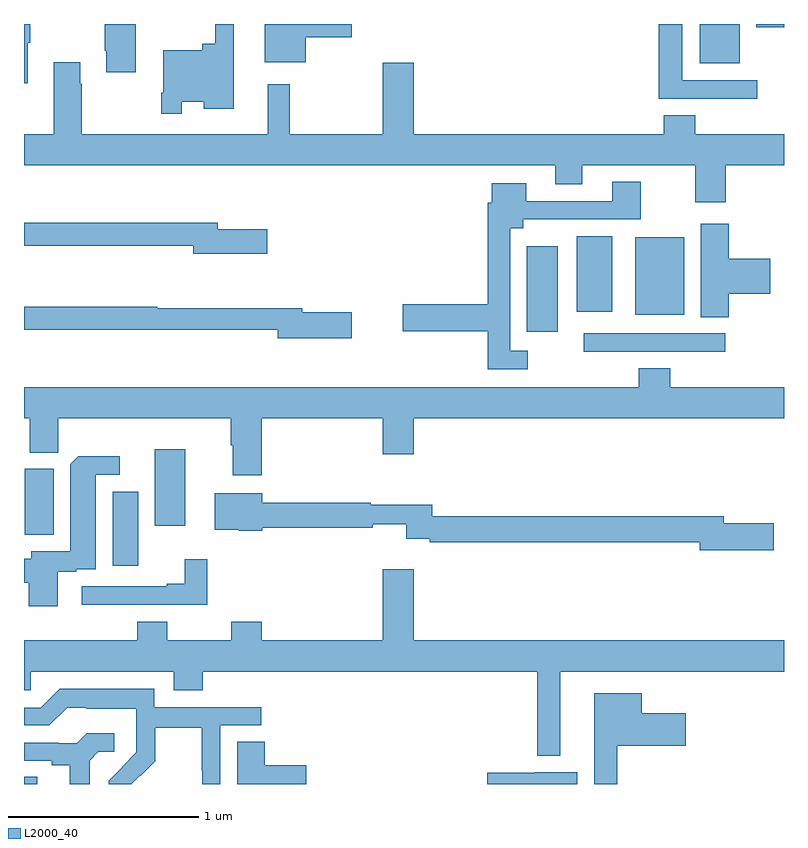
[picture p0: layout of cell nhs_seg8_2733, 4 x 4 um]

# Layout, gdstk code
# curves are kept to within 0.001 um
import gdstk
lib = gdstk.Library(unit=1e-6, precision=1e-09)
def R(c, l, rs):  # rectangles x0, y0, x1, y1
    for r in rs: c.add(gdstk.rectangle(r[:2], r[2:], *l))
def P(c, l, *ps):  # polygons
    for p in ps: c.add(gdstk.Polygon(p, *l))
L2000_40 = (2000, 40)

nhs_seg8_2733 = lib.new_cell('nhs_seg8_2733')
R(nhs_seg8_2733, L2000_40, [(283,1123.9,283.069,1123.937), (283.466,1125.05,283.6,1125.439), (283.004,1125.211,283.156,1125.558), (283.688,1125.258,283.849,1125.661), (285.945,1126.176,286.69,1126.272), (285.647,1126.281,285.808,1126.729), (286.217,1126.37,286.474,1126.777), (285.908,1126.385,286.096,1126.783), (286.556,1127.693,286.768,1127.9), (286.853,1127.882,287,1127.9)])
P(nhs_seg8_2733, L2000_40, [(284.482,1127.831),(284.725,1127.831),(284.725,1127.9),(284.267,1127.9),(284.267,1127.699),(284.482,1127.699)],
  [(283.021,1127.801),(283.033,1127.801),(283.033,1127.9),(283,1127.9),(283,1127.589),(283.021,1127.589)],
  [(286.858,1127.604),(286.465,1127.604),(286.465,1127.9),(286.34,1127.9),(286.34,1127.507),(286.858,1127.507)],
  [(283.83,1127.492),(283.946,1127.492),(283.946,1127.453),(284.104,1127.453),(284.104,1127.9),(284.007,1127.9),(284.007,1127.797),(283.939,1127.797),(283.939,1127.761),(283.734,1127.761),(283.734,1127.539),(283.722,1127.539),(283.722,1127.427),(283.83,1127.427)],
  [(283.588,1127.9),(283.426,1127.9),(283.426,1127.758),(283.433,1127.758),(283.433,1127.646),(283.588,1127.646)],
  [(286.694,1127.156),(287,1127.156),(287,1127.32),(286.532,1127.32),(286.532,1127.419),(286.367,1127.419),(286.367,1127.32),(285.052,1127.32),(285.052,1127.695),(284.888,1127.695),(284.888,1127.32),(284.399,1127.32),(284.399,1127.584),(284.282,1127.584),(284.282,1127.32),(283.305,1127.32),(283.305,1127.585),(283.297,1127.585),(283.297,1127.698),(283.157,1127.698),(283.157,1127.32),(283,1127.32),(283,1127.156),(285.797,1127.156),(285.797,1127.057),(285.937,1127.057),(285.937,1127.156),(286.534,1127.156),(286.534,1126.962),(286.694,1126.962)],
  [(285.652,1126.179),(285.558,1126.179),(285.558,1126.826),(285.628,1126.826),(285.628,1126.872),(286.245,1126.872),(286.245,1127.071),(286.097,1127.071),(286.097,1126.968),(285.643,1126.968),(285.643,1127.062),(285.461,1127.062),(285.461,1126.958),(285.442,1126.958),(285.442,1126.424),(284.994,1126.424),(284.994,1126.282),(285.442,1126.282),(285.442,1126.083),(285.652,1126.083)],
  [(284.281,1126.821),(284.02,1126.821),(284.02,1126.855),(283,1126.855),(283,1126.734),(283.892,1126.734),(283.892,1126.691),(284.281,1126.691)],
  [(286.709,1126.481),(286.927,1126.481),(286.927,1126.664),(286.709,1126.664),(286.709,1126.849),(286.562,1126.849),(286.562,1126.357),(286.709,1126.357)],
  [(284.725,1126.382),(284.464,1126.382),(284.464,1126.403),(283.701,1126.403),(283.701,1126.411),(283,1126.411),(283,1126.29),(284.336,1126.29),(284.336,1126.247),(284.725,1126.247)],
  [(284.252,1125.824),(284.888,1125.824),(284.888,1125.636),(285.052,1125.636),(285.052,1125.824),(287,1125.824),(287,1125.988),(286.4,1125.988),(286.4,1126.087),(286.235,1126.087),(286.235,1125.988),(283,1125.988),(283,1125.824),(283.031,1125.824),(283.031,1125.643),(283.181,1125.643),(283.181,1125.824),(284.087,1125.824),(284.087,1125.683),(284.099,1125.683),(284.099,1125.525),(284.252,1125.525)],
  [(283.177,1125.018),(283.274,1125.018),(283.274,1125.03),(283.378,1125.03),(283.378,1125.528),(283.504,1125.528),(283.504,1125.626),(283.285,1125.626),(283.244,1125.584),(283.244,1125.126),(283.037,1125.126),(283.037,1125.086),(283,1125.086),(283,1124.958),(283.025,1124.958),(283.025,1124.835),(283.177,1124.835)],
  [(286.945,1125.272),(286.684,1125.272),(286.684,1125.308),(285.149,1125.308),(285.149,1125.371),(284.826,1125.371),(284.826,1125.379),(284.254,1125.379),(284.254,1125.43),(284.003,1125.43),(284.003,1125.239),(284.129,1125.239),(284.129,1125.232),(284.254,1125.232),(284.254,1125.25),(284.836,1125.25),(284.836,1125.268),(285.013,1125.268),(285.013,1125.191),(285.136,1125.191),(285.136,1125.172),(286.556,1125.172),(286.556,1125.13),(286.945,1125.13)],
  [(283.964,1125.082),(283.846,1125.082),(283.846,1124.953),(283.751,1124.953),(283.751,1124.94),(283.305,1124.94),(283.305,1124.844),(283.964,1124.844)],
  [(285.823,1124.492),(287,1124.492),(287,1124.656),(285.052,1124.656),(285.052,1125.031),(284.888,1125.031),(284.888,1124.656),(284.252,1124.656),(284.252,1124.755),(284.092,1124.755),(284.092,1124.656),(283.755,1124.656),(283.755,1124.755),(283.595,1124.755),(283.595,1124.656),(283,1124.656),(283,1124.394),(283.035,1124.394),(283.035,1124.492),(283.787,1124.492),(283.787,1124.393),(283.94,1124.393),(283.94,1124.492),(285.702,1124.492),(285.702,1124.048),(285.823,1124.048)],
  [(283.611,1123.947),(283.614,1123.944),(283.691,1124.021),(283.691,1124.196),(283.936,1124.196),(283.936,1123.972),(283.938,1123.972),(283.938,1123.9),(284.034,1123.9),(284.034,1124.208),(284.248,1124.208),(284.248,1124.304),(283.686,1124.304),(283.686,1124.401),(283.189,1124.401),(283.089,1124.301),(283,1124.301),(283,1124.208),(283.134,1124.208),(283.227,1124.301),(283.327,1124.301),(283.327,1124.297),(283.59,1124.297),(283.59,1124.163),(283.592,1124.163),(283.592,1124.066),(283.446,1123.918),(283.446,1123.9),(283.564,1123.9)],
  [(286.123,1124.102),(286.483,1124.102),(286.483,1124.272),(286.252,1124.272),(286.252,1124.377),(286.001,1124.377),(286.001,1123.9),(286.123,1123.9)],
  [(283.345,1124.023),(283.392,1124.07),(283.474,1124.07),(283.474,1124.167),(283.33,1124.167),(283.278,1124.115),(283.184,1124.115),(283.184,1124.118),(283,1124.118),(283,1124.022),(283.145,1124.022),(283.145,1124),(283.241,1124),(283.241,1123.9),(283.345,1123.9)],
  [(284.485,1124),(284.267,1124),(284.267,1124.123),(284.123,1124.123),(284.123,1123.9),(284.485,1123.9)],
  [(285.913,1123.963),(285.69,1123.963),(285.69,1123.958),(285.438,1123.958),(285.438,1123.9),(285.913,1123.9)])

lib.write_gds('nhs_seg8_2733.gds')
